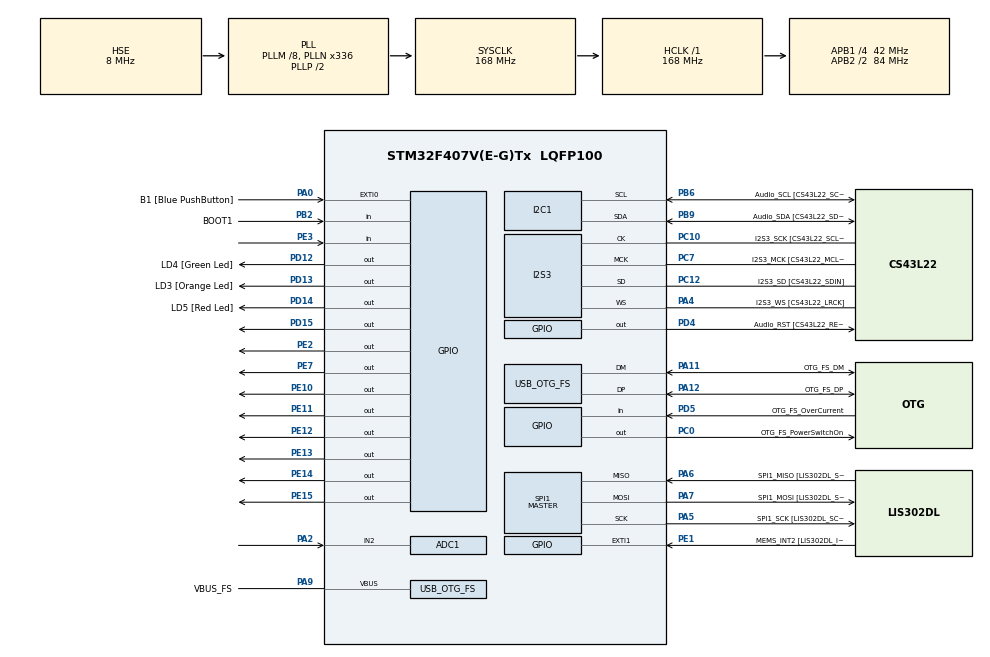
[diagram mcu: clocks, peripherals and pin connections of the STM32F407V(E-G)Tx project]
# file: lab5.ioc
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ADC1.Channel-0\#ChannelRegularConversion=ADC_CHANNEL_2
ADC1.NbrOfConversionFlag=1
ADC1.Rank-0\#ChannelRegularConversion=1
ADC1.SamplingTime-0\#ChannelRegularConversion=ADC_SAMPLETIME_3CYCLES
ADC1.master=1
I2S3.AudioFreq-Half_Duplex_Master=I2S_AUDIOFREQ_96K
I2S3.ErrorAudioFreq=-2.34 %
I2S3.ErrorAudioFreq-Half_Duplex_Master=0.8 %
I2S3.FullDuplexMode=I2S_FULLDUPLEXMODE_DISABLE
I2S3.Instance=SPI$Index
I2S3.RealAudioFreq=93.75 KHz
I2S3.RealAudioFreq-Half_Duplex_Master=96.774 KHz
I2S3.VirtualMode=I2S_MODE_MASTER
Mcu.Family=STM32F4
Mcu.Name=STM32F407V(E-G)Tx
Mcu.Package=LQFP100
NVIC.OTG_FS_IRQn=true\:0\:0\:false\:false\:true\:true\:true\:true
NVIC.PriorityGroup=NVIC_PRIORITYGROUP_0
PA0-WKUP.GPIO_Label=B1 [Blue PushButton]
PA0-WKUP.GPIO_ModeDefaultEXTI=GPIO_MODE_EVT_RISING
PA0-WKUP.GPIO_PuPd=GPIO_NOPULL
PA0-WKUP.Signal=GPXTI0
PA10.GPIO_Label=OTG_FS_ID
PA10.GPIO_Mode=GPIO_MODE_AF_PP
PA10.GPIO_PuPd=GPIO_NOPULL
PA10.GPIO_Speed=GPIO_SPEED_FREQ_LOW
PA10.Signal=USB_OTG_FS_ID
PA11.GPIO_Label=OTG_FS_DM
PA11.GPIO_Mode=GPIO_MODE_AF_PP
PA11.GPIO_PuPd=GPIO_NOPULL
PA11.GPIO_Speed=GPIO_SPEED_FREQ_LOW
PA11.Mode=Host_Only
PA11.Signal=USB_OTG_FS_DM
PA12.GPIO_Label=OTG_FS_DP
PA12.GPIO_Mode=GPIO_MODE_AF_PP
PA12.GPIO_PuPd=GPIO_NOPULL
PA12.GPIO_Speed=GPIO_SPEED_FREQ_LOW
PA12.Mode=Host_Only
PA12.Signal=USB_OTG_FS_DP
PA13.GPIO_Label=SWDIO
PA13.Mode=Serial_Wire
PA13.Signal=SYS_JTMS-SWDIO
PA14.GPIO_Label=SWCLK
PA14.Mode=Serial_Wire
PA14.Signal=SYS_JTCK-SWCLK
PA2.Signal=ADCx_IN2
PA4.GPIO_Label=I2S3_WS [CS43L22_LRCK]
PA4.GPIO_Mode=GPIO_MODE_AF_PP
PA4.GPIO_PuPd=GPIO_NOPULL
PA4.GPIO_Speed=GPIO_SPEED_FREQ_LOW
PA4.Mode=Half_Duplex_Master
PA4.Signal=I2S3_WS
PA5.GPIO_Label=SPI1_SCK [LIS302DL_SCL/SPC]
PA5.GPIO_Mode=GPIO_MODE_AF_PP
PA5.GPIO_PuPd=GPIO_NOPULL
PA5.GPIO_Speed=GPIO_SPEED_FREQ_LOW
PA5.Mode=Full_Duplex_Master
PA5.Signal=SPI1_SCK
PA6.GPIO_Label=SPI1_MISO [LIS302DL_SDO]
PA6.GPIO_Mode=GPIO_MODE_AF_PP
PA6.GPIO_PuPd=GPIO_NOPULL
PA6.GPIO_Speed=GPIO_SPEED_FREQ_LOW
PA6.Mode=Full_Duplex_Master
PA6.Signal=SPI1_MISO
PA7.GPIO_Label=SPI1_MOSI [LIS302DL_SDA/SDI/SDO]
PA7.GPIO_Mode=GPIO_MODE_AF_PP
PA7.GPIO_PuPd=GPIO_NOPULL
PA7.GPIO_Speed=GPIO_SPEED_FREQ_LOW
PA7.Mode=Full_Duplex_Master
PA7.Signal=SPI1_MOSI
PA9.GPIO_Label=VBUS_FS
PA9.GPIO_Mode=GPIO_MODE_INPUT
PA9.GPIO_PuPd=GPIO_NOPULL
PA9.Mode=Activate_VBUS
PA9.Signal=USB_OTG_FS_VBUS
PB10.GPIO_Label=CLK_IN [MP45DT02_CLK]
PB10.GPIO_Mode=GPIO_MODE_AF_PP
PB10.GPIO_PuPd=GPIO_NOPULL
PB10.GPIO_Speed=GPIO_SPEED_FREQ_LOW
PB10.Signal=I2S2_CK
PB2.GPIO_Label=BOOT1
PB2.GPIO_Mode=GPIO_MODE_INPUT
PB2.GPIO_PuPd=GPIO_NOPULL
PB2.Signal=GPIO_Input
PB3.GPIO_Label=SWO
PB3.Signal=SYS_JTDO-SWO
PB6.GPIO_Label=Audio_SCL [CS43L22_SCL]
PB6.GPIO_Mode=GPIO_MODE_AF_OD
PB6.GPIO_Pu=GPIO_PULLUP
PB6.GPIO_PuPd=GPIO_NOPULL
PB6.GPIO_Speed=GPIO_SPEED_FREQ_LOW
PB6.Mode=I2C
PB6.Signal=I2C1_SCL
PB9.GPIO_Label=Audio_SDA [CS43L22_SDA]
PB9.GPIO_Mode=GPIO_MODE_AF_OD
PB9.GPIO_Pu=GPIO_PULLUP
PB9.GPIO_PuPd=GPIO_NOPULL
PB9.GPIO_Speed=GPIO_SPEED_FREQ_LOW
PB9.Mode=I2C
PB9.Signal=I2C1_SDA
PC0.GPIO_Label=OTG_FS_PowerSwitchOn
PC0.GPIO_PuPd=GPIO_NOPULL
PC0.GPIO_Speed=GPIO_SPEED_FREQ_LOW
PC0.PinState=GPIO_PIN_SET
PC0.Signal=GPIO_Output
PC10.GPIO_Label=I2S3_SCK [CS43L22_SCLK]
PC10.GPIO_Mode=GPIO_MODE_AF_PP
PC10.GPIO_PuPd=GPIO_NOPULL
PC10.GPIO_Speed=GPIO_SPEED_FREQ_LOW
PC10.Mode=Half_Duplex_Master
PC10.Signal=I2S3_CK
PC12.GPIO_Label=I2S3_SD [CS43L22_SDIN]
PC12.GPIO_Mode=GPIO_MODE_AF_PP
PC12.GPIO_PuPd=GPIO_NOPULL
PC12.GPIO_Speed=GPIO_SPEED_FREQ_LOW
PC12.Mode=Half_Duplex_Master
PC12.Signal=I2S3_SD
PC14-OSC32_IN.GPIO_Label=PC14-OSC32_IN
PC14-OSC32_IN.Mode=LSE-External-Oscillator
PC14-OSC32_IN.Signal=RCC_OSC32_IN
PC15-OSC32_OUT.GPIO_Label=PC15-OSC32_OUT
PC15-OSC32_OUT.Mode=LSE-External-Oscillator
PC15-OSC32_OUT.Signal=RCC_OSC32_OUT
PC3.GPIO_Label=PDM_OUT [MP45DT02_DOUT]
PC3.GPIO_Mode=GPIO_MODE_AF_PP
PC3.GPIO_PuPd=GPIO_NOPULL
PC3.GPIO_Speed=GPIO_SPEED_FREQ_LOW
PC3.Signal=I2S2_SD
PC7.GPIO_Label=I2S3_MCK [CS43L22_MCLK]
PC7.GPIO_Mode=GPIO_MODE_AF_PP
PC7.GPIO_PuPd=GPIO_NOPULL
PC7.GPIO_Speed=GPIO_SPEED_FREQ_LOW
PC7.Mode=Master_Clock_Activated
PC7.Signal=I2S3_MCK
PD12.GPIO_Label=LD4 [Green Led]
PD12.GPIO_PuPd=GPIO_NOPULL
PD12.GPIO_Speed=GPIO_SPEED_FREQ_LOW
PD12.Signal=GPIO_Output
PD13.GPIO_Label=LD3 [Orange Led]
PD13.GPIO_PuPd=GPIO_NOPULL
PD13.GPIO_Speed=GPIO_SPEED_FREQ_LOW
PD13.Signal=GPIO_Output
PD14.GPIO_Label=LD5 [Red Led]
PD14.GPIO_PuPd=GPIO_NOPULL
PD14.GPIO_Speed=GPIO_SPEED_FREQ_LOW
PD14.Signal=GPIO_Output
PD15.Signal=GPIO_Output
PD4.GPIO_Label=Audio_RST [CS43L22_RESET]
PD4.GPIO_PuPd=GPIO_NOPULL
PD4.GPIO_Speed=GPIO_SPEED_FREQ_LOW
PD4.Signal=GPIO_Output
PD5.GPIO_Label=OTG_FS_OverCurrent
PD5.GPIO_Mode=GPIO_MODE_INPUT
PD5.GPIO_PuPd=GPIO_NOPULL
PD5.Signal=GPIO_Input
PE1.GPIO_Label=MEMS_INT2 [LIS302DL_INT2]
PE1.GPIO_ModeDefaultEXTI=GPIO_MODE_EVT_RISING
PE1.GPIO_PuPd=GPIO_NOPULL
PE1.Signal=GPXTI1
PE10.Signal=GPIO_Output
PE11.Signal=GPIO_Output
PE12.Signal=GPIO_Output
PE13.Signal=GPIO_Output
PE14.Signal=GPIO_Output
PE15.Signal=GPIO_Output
PE2.Signal=GPIO_Output
PE3.Signal=GPIO_Input
PE7.Signal=GPIO_Output
PH0-OSC_IN.GPIO_Label=PH0-OSC_IN
PH0-OSC_IN.Mode=HSE-External-Oscillator
PH0-OSC_IN.Signal=RCC_OSC_IN
PH1-OSC_OUT.GPIO_Label=PH1-OSC_OUT
PH1-OSC_OUT.Mode=HSE-External-Oscillator
PH1-OSC_OUT.Signal=RCC_OSC_OUT
ProjectManager.HeapSize=0x200
ProjectManager.StackSize=0x400
ProjectManager.TargetToolchain=STM32CubeIDE
RCC.48MHZClocksFreq_Value=48000000
RCC.AHBFreq_Value=168000000
RCC.APB1CLKDivider=RCC_HCLK_DIV4
RCC.APB1Freq_Value=42000000
RCC.APB1TimFreq_Value=84000000
RCC.APB2CLKDivider=RCC_HCLK_DIV2
RCC.APB2Freq_Value=84000000
RCC.APB2TimFreq_Value=168000000
RCC.CortexFreq_Value=168000000
RCC.HCLKFreq_Value=168000000
RCC.HSE_VALUE=8000000
RCC.HSI_VALUE=16000000
RCC.PLLM=8
RCC.PLLN=336
RCC.PLLQ=7
RCC.SYSCLKFreq_VALUE=168000000
RCC.SYSCLKSource=RCC_SYSCLKSOURCE_PLLCLK
RCC.VCOOutputFreq_Value=336000000
SH.ADCx_IN2.0=ADC1_IN2,IN2
SPI1.BaudRatePrescaler-Full_Duplex_Master=SPI_BAUDRATEPRESCALER_2
SPI1.CalculateBaudRate-Full_Duplex_Master=42.0 MBits/s
SPI1.Direction=SPI_DIRECTION_2LINES
SPI1.Mode=SPI_MODE_MASTER
SPI1.Mode-Full_Duplex_Master=SPI_MODE_MASTER
SPI1.VirtualType=VM_MASTER
USB_HOST.BSP.number=1
USB_HOST.USBH_HandleTypeDef-CDC_FS=hUsbHostFS
USB_HOST.VirtualModeFS=Cdc
USB_HOST0.BSP.STBoard=false
USB_HOST0.BSP.api=Unknown
USB_HOST0.BSP.instance=PC0
USB_HOST0.BSP.ip=GPIO
USB_HOST0.BSP.mode=Output
USB_HOST0.BSP.name=Drive_VBUS_FS
USB_HOST0.BSP.solution=PC0
USB_OTG_FS.VirtualMode=Host_Only
USB_OTG_FS.phy_itface=HCD_PHY_EMBEDDED
VP_TIM6_VS_ClockSourceINT.Mode=Enable_Timer
VP_USB_HOST_VS_USB_HOST_CDC_FS.Mode=CDC_FS
board=STM32F407G-DISC1

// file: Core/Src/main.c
/* USER CODE BEGIN Header */
/**
  ******************************************************************************
  * @file           : main.c
  * @brief          : Main program body
  ******************************************************************************
  * @attention
  *
  * Copyright (c) 2024 STMicroelectronics.
  * All rights reserved.
  *
  * This software is licensed under terms that can be found in the LICENSE file
  * in the root directory of this software component.
  * If no LICENSE file comes with this software, it is provided AS-IS.
  *
  ******************************************************************************
  */
/* USER CODE END Header */
#include "main.h"
#include "usb_host.h"

/* USER CODE BEGIN Includes */

#include <stdio.h>
#include <string.h>
#include "display.h"
#include "sensor_us.h"
#include "sensor_ir.h"

/* USER CODE END Includes */

ADC_HandleTypeDef hadc1;

I2C_HandleTypeDef hi2c1;

I2S_HandleTypeDef hi2s3;

SPI_HandleTypeDef hspi1;

TIM_HandleTypeDef htim6;

void SystemClock_Config(void);
static void MX_GPIO_Init(void);
static void MX_I2C1_Init(void);
static void MX_I2S3_Init(void);
static void MX_SPI1_Init(void);
static void MX_ADC1_Init(void);
static void MX_TIM6_Init(void);
void MX_USB_HOST_Process(void);

int main(void)
{

  /* MCU Configuration--------------------------------------------------------*/

  /* Reset of all peripherals, Initializes the Flash interface and the Systick. */
  HAL_Init();

  /* Configure the system clock */
  SystemClock_Config();

  /* Initialize all configured peripherals */
  MX_GPIO_Init();
  MX_I2C1_Init();
  MX_I2S3_Init();
  MX_SPI1_Init();
  MX_USB_HOST_Init();
  MX_ADC1_Init();
  MX_TIM6_Init();
  /* USER CODE BEGIN 2 */

  ir_sensor_t obj_ir_sensor;
  acoustic_sensor_t obj_ac_sensor;
  // delay_init(&htim6);
  initLCD();
  ir_sensor_init(&obj_ir_sensor, &hadc1);

  /* USER CODE END 2 */

  /* Infinite loop */
  while (1)
  {
    MX_USB_HOST_Process();

    /* USER CODE BEGIN 3 */

    clear();
    char cPL_str[16];
    uint16_t u16L_dist = ir_sensor_read(&obj_ir_sensor);
    sprintf(cPL_str, "%d", u16L_dist);
    setCursor(0, 0);
    lcdString(cPL_str);
    u16L_dist = acoustic_sensor_read(&obj_ac_sensor);
    setCursor(0, 1);
    memset(cPL_str, 0, 16);
    sprintf(cPL_str, "%d", u16L_dist);
    lcdString(cPL_str);
    HAL_Delay(1000);
    HAL_GPIO_TogglePin(GPIOD, GPIO_PIN_15);
  }
  /* USER CODE END 3 */
}

void SystemClock_Config(void)
{
  RCC_OscInitTypeDef RCC_OscInitStruct = {0};
  RCC_ClkInitTypeDef RCC_ClkInitStruct = {0};

  /** Configure the main internal regulator output voltage
  */
  __HAL_RCC_PWR_CLK_ENABLE();
  __HAL_PWR_VOLTAGESCALING_CONFIG(PWR_REGULATOR_VOLTAGE_SCALE1);

  /** Initializes the RCC Oscillators according to the specified parameters
  * in the RCC_OscInitTypeDef structure.
  */
  RCC_OscInitStruct.OscillatorType = RCC_OSCILLATORTYPE_HSE;
  RCC_OscInitStruct.HSEState = RCC_HSE_ON;
  RCC_OscInitStruct.PLL.PLLState = RCC_PLL_ON;
  RCC_OscInitStruct.PLL.PLLSource = RCC_PLLSOURCE_HSE;
  RCC_OscInitStruct.PLL.PLLM = 8;
  RCC_OscInitStruct.PLL.PLLN = 336;
  RCC_OscInitStruct.PLL.PLLP = RCC_PLLP_DIV2;
  RCC_OscInitStruct.PLL.PLLQ = 7;
  if (HAL_RCC_OscConfig(&RCC_OscInitStruct) != HAL_OK)
  {
    Error_Handler();
  }

  /** Initializes the CPU, AHB and APB buses clocks
  */
  RCC_ClkInitStruct.ClockType = RCC_CLOCKTYPE_HCLK|RCC_CLOCKTYPE_SYSCLK
                              |RCC_CLOCKTYPE_PCLK1|RCC_CLOCKTYPE_PCLK2;
  RCC_ClkInitStruct.SYSCLKSource = RCC_SYSCLKSOURCE_PLLCLK;
  RCC_ClkInitStruct.AHBCLKDivider = RCC_SYSCLK_DIV1;
  RCC_ClkInitStruct.APB1CLKDivider = RCC_HCLK_DIV4;
  RCC_ClkInitStruct.APB2CLKDivider = RCC_HCLK_DIV2;

  if (HAL_RCC_ClockConfig(&RCC_ClkInitStruct, FLASH_LATENCY_5) != HAL_OK)
  {
    Error_Handler();
  }
}

static void MX_ADC1_Init(void)
{

  ADC_ChannelConfTypeDef sConfig = {0};

  /** Configure the global features of the ADC (Clock, Resolution, Data Alignment and number of conversion)
  */
  hadc1.Instance = ADC1;
  hadc1.Init.ClockPrescaler = ADC_CLOCK_SYNC_PCLK_DIV4;
  hadc1.Init.Resolution = ADC_RESOLUTION_12B;
  hadc1.Init.ScanConvMode = DISABLE;
  hadc1.Init.ContinuousConvMode = DISABLE;
  hadc1.Init.DiscontinuousConvMode = DISABLE;
  hadc1.Init.ExternalTrigConvEdge = ADC_EXTERNALTRIGCONVEDGE_NONE;
  hadc1.Init.ExternalTrigConv = ADC_SOFTWARE_START;
  hadc1.Init.DataAlign = ADC_DATAALIGN_RIGHT;
  hadc1.Init.NbrOfConversion = 1;
  hadc1.Init.DMAContinuousRequests = DISABLE;
  hadc1.Init.EOCSelection = ADC_EOC_SINGLE_CONV;
  if (HAL_ADC_Init(&hadc1) != HAL_OK)
  {
    Error_Handler();
  }

  /** Configure for the selected ADC regular channel its corresponding rank in the sequencer and its sample time.
  */
  sConfig.Channel = ADC_CHANNEL_2;
  sConfig.Rank = 1;
  sConfig.SamplingTime = ADC_SAMPLETIME_3CYCLES;
  if (HAL_ADC_ConfigChannel(&hadc1, &sConfig) != HAL_OK)
  {
    Error_Handler();
  }

}

static void MX_I2C1_Init(void)
{

  hi2c1.Instance = I2C1;
  hi2c1.Init.ClockSpeed = 100000;
  hi2c1.Init.DutyCycle = I2C_DUTYCYCLE_2;
  hi2c1.Init.OwnAddress1 = 0;
  hi2c1.Init.AddressingMode = I2C_ADDRESSINGMODE_7BIT;
  hi2c1.Init.DualAddressMode = I2C_DUALADDRESS_DISABLE;
  hi2c1.Init.OwnAddress2 = 0;
  hi2c1.Init.GeneralCallMode = I2C_GENERALCALL_DISABLE;
  hi2c1.Init.NoStretchMode = I2C_NOSTRETCH_DISABLE;
  if (HAL_I2C_Init(&hi2c1) != HAL_OK)
  {
    Error_Handler();
  }

}

static void MX_I2S3_Init(void)
{

  hi2s3.Instance = SPI3;
  hi2s3.Init.Mode = I2S_MODE_MASTER_TX;
  hi2s3.Init.Standard = I2S_STANDARD_PHILIPS;
  hi2s3.Init.DataFormat = I2S_DATAFORMAT_16B;
  hi2s3.Init.MCLKOutput = I2S_MCLKOUTPUT_ENABLE;
  hi2s3.Init.AudioFreq = I2S_AUDIOFREQ_96K;
  hi2s3.Init.CPOL = I2S_CPOL_LOW;
  hi2s3.Init.ClockSource = I2S_CLOCK_PLL;
  hi2s3.Init.FullDuplexMode = I2S_FULLDUPLEXMODE_DISABLE;
  if (HAL_I2S_Init(&hi2s3) != HAL_OK)
  {
    Error_Handler();
  }

}

static void MX_SPI1_Init(void)
{

  /* SPI1 parameter configuration*/
  hspi1.Instance = SPI1;
  hspi1.Init.Mode = SPI_MODE_MASTER;
  hspi1.Init.Direction = SPI_DIRECTION_2LINES;
  hspi1.Init.DataSize = SPI_DATASIZE_8BIT;
  hspi1.Init.CLKPolarity = SPI_POLARITY_LOW;
  hspi1.Init.CLKPhase = SPI_PHASE_1EDGE;
  hspi1.Init.NSS = SPI_NSS_SOFT;
  hspi1.Init.BaudRatePrescaler = SPI_BAUDRATEPRESCALER_2;
  hspi1.Init.FirstBit = SPI_FIRSTBIT_MSB;
  hspi1.Init.TIMode = SPI_TIMODE_DISABLE;
  hspi1.Init.CRCCalculation = SPI_CRCCALCULATION_DISABLE;
  hspi1.Init.CRCPolynomial = 10;
  if (HAL_SPI_Init(&hspi1) != HAL_OK)
  {
    Error_Handler();
  }

}

static void MX_TIM6_Init(void)
{

  TIM_MasterConfigTypeDef sMasterConfig = {0};

  htim6.Instance = TIM6;
  htim6.Init.Prescaler = 0;
  htim6.Init.CounterMode = TIM_COUNTERMODE_UP;
  htim6.Init.Period = 65535;
  htim6.Init.AutoReloadPreload = TIM_AUTORELOAD_PRELOAD_DISABLE;
  if (HAL_TIM_Base_Init(&htim6) != HAL_OK)
  {
    Error_Handler();
  }
  sMasterConfig.MasterOutputTrigger = TIM_TRGO_RESET;
  sMasterConfig.MasterSlaveMode = TIM_MASTERSLAVEMODE_DISABLE;
  if (HAL_TIMEx_MasterConfigSynchronization(&htim6, &sMasterConfig) != HAL_OK)
  {
    Error_Handler();
  }

}

static void MX_GPIO_Init(void)
{
  GPIO_InitTypeDef GPIO_InitStruct = {0};

  /* GPIO Ports Clock Enable */
  __HAL_RCC_GPIOE_CLK_ENABLE();
  __HAL_RCC_GPIOC_CLK_ENABLE();
  __HAL_RCC_GPIOH_CLK_ENABLE();
  __HAL_RCC_GPIOA_CLK_ENABLE();
  __HAL_RCC_GPIOB_CLK_ENABLE();
  __HAL_RCC_GPIOD_CLK_ENABLE();

  /*Configure GPIO pin Output Level */
  HAL_GPIO_WritePin(GPIOE, GPIO_PIN_2|GPIO_PIN_7|GPIO_PIN_10|GPIO_PIN_11
                          |GPIO_PIN_12|GPIO_PIN_13|GPIO_PIN_14|GPIO_PIN_15, GPIO_PIN_RESET);

  /*Configure GPIO pin Output Level */
  HAL_GPIO_WritePin(OTG_FS_PowerSwitchOn_GPIO_Port, OTG_FS_PowerSwitchOn_Pin, GPIO_PIN_SET);

  /*Configure GPIO pin Output Level */
  HAL_GPIO_WritePin(GPIOD, LD4_Pin|LD3_Pin|LD5_Pin|GPIO_PIN_15
                          |Audio_RST_Pin, GPIO_PIN_RESET);

  /*Configure GPIO pins : PE2 PE7 PE10 PE11
                           PE12 PE13 PE14 PE15 */
  GPIO_InitStruct.Pin = GPIO_PIN_2|GPIO_PIN_7|GPIO_PIN_10|GPIO_PIN_11
                          |GPIO_PIN_12|GPIO_PIN_13|GPIO_PIN_14|GPIO_PIN_15;
  GPIO_InitStruct.Mode = GPIO_MODE_OUTPUT_PP;
  GPIO_InitStruct.Pull = GPIO_NOPULL;
  GPIO_InitStruct.Speed = GPIO_SPEED_FREQ_LOW;
  HAL_GPIO_Init(GPIOE, &GPIO_InitStruct);

  /*Configure GPIO pin : PE3 */
  GPIO_InitStruct.Pin = GPIO_PIN_3;
  GPIO_InitStruct.Mode = GPIO_MODE_INPUT;
  GPIO_InitStruct.Pull = GPIO_NOPULL;
  HAL_GPIO_Init(GPIOE, &GPIO_InitStruct);

  /*Configure GPIO pin : OTG_FS_PowerSwitchOn_Pin */
  GPIO_InitStruct.Pin = OTG_FS_PowerSwitchOn_Pin;
  GPIO_InitStruct.Mode = GPIO_MODE_OUTPUT_PP;
  GPIO_InitStruct.Pull = GPIO_NOPULL;
  GPIO_InitStruct.Speed = GPIO_SPEED_FREQ_LOW;
  HAL_GPIO_Init(OTG_FS_PowerSwitchOn_GPIO_Port, &GPIO_InitStruct);

  /*Configure GPIO pin : PDM_OUT_Pin */
  GPIO_InitStruct.Pin = PDM_OUT_Pin;
  GPIO_InitStruct.Mode = GPIO_MODE_AF_PP;
  GPIO_InitStruct.Pull = GPIO_NOPULL;
  GPIO_InitStruct.Speed = GPIO_SPEED_FREQ_LOW;
  GPIO_InitStruct.Alternate = GPIO_AF5_SPI2;
  HAL_GPIO_Init(PDM_OUT_GPIO_Port, &GPIO_InitStruct);

  /*Configure GPIO pin : B1_Pin */
  GPIO_InitStruct.Pin = B1_Pin;
  GPIO_InitStruct.Mode = GPIO_MODE_EVT_RISING;
  GPIO_InitStruct.Pull = GPIO_NOPULL;
  HAL_GPIO_Init(B1_GPIO_Port, &GPIO_InitStruct);

  /*Configure GPIO pin : BOOT1_Pin */
  GPIO_InitStruct.Pin = BOOT1_Pin;
  GPIO_InitStruct.Mode = GPIO_MODE_INPUT;
  GPIO_InitStruct.Pull = GPIO_NOPULL;
  HAL_GPIO_Init(BOOT1_GPIO_Port, &GPIO_InitStruct);

  /*Configure GPIO pin : CLK_IN_Pin */
  GPIO_InitStruct.Pin = CLK_IN_Pin;
  GPIO_InitStruct.Mode = GPIO_MODE_AF_PP;
  GPIO_InitStruct.Pull = GPIO_NOPULL;
  GPIO_InitStruct.Speed = GPIO_SPEED_FREQ_LOW;
  GPIO_InitStruct.Alternate = GPIO_AF5_SPI2;
  HAL_GPIO_Init(CLK_IN_GPIO_Port, &GPIO_InitStruct);

  /*Configure GPIO pins : LD4_Pin LD3_Pin LD5_Pin PD15
                           Audio_RST_Pin */
  GPIO_InitStruct.Pin = LD4_Pin|LD3_Pin|LD5_Pin|GPIO_PIN_15
                          |Audio_RST_Pin;
  GPIO_InitStruct.Mode = GPIO_MODE_OUTPUT_PP;
  GPIO_InitStruct.Pull = GPIO_NOPULL;
  GPIO_InitStruct.Speed = GPIO_SPEED_FREQ_LOW;
  HAL_GPIO_Init(GPIOD, &GPIO_InitStruct);

  /*Configure GPIO pin : OTG_FS_OverCurrent_Pin */
  GPIO_InitStruct.Pin = OTG_FS_OverCurrent_Pin;
  GPIO_InitStruct.Mode = GPIO_MODE_INPUT;
  GPIO_InitStruct.Pull = GPIO_NOPULL;
  HAL_GPIO_Init(OTG_FS_OverCurrent_GPIO_Port, &GPIO_InitStruct);

  /*Configure GPIO pin : MEMS_INT2_Pin */
  GPIO_InitStruct.Pin = MEMS_INT2_Pin;
  GPIO_InitStruct.Mode = GPIO_MODE_EVT_RISING;
  GPIO_InitStruct.Pull = GPIO_NOPULL;
  HAL_GPIO_Init(MEMS_INT2_GPIO_Port, &GPIO_InitStruct);

}

void Error_Handler(void)
{
  __disable_irq();
  while (1)
  {
  }
}
